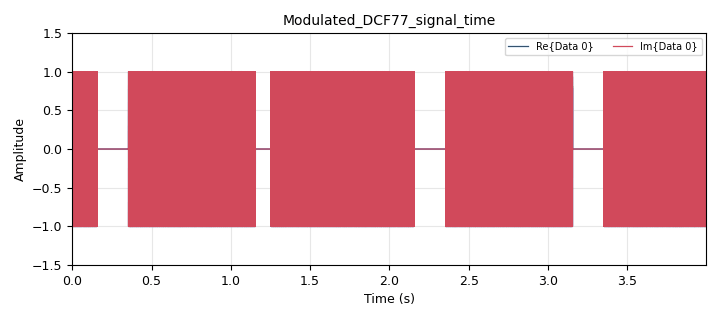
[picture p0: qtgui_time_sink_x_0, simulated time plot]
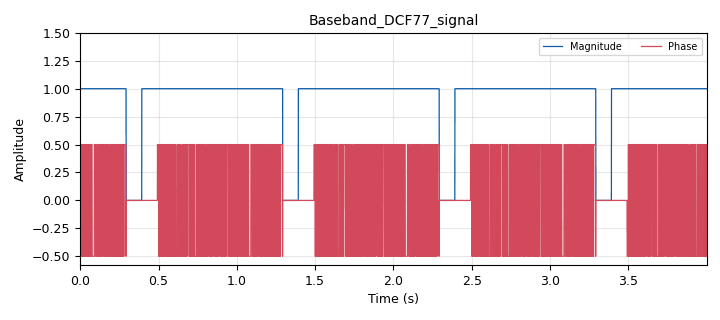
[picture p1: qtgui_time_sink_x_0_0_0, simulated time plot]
options:
  parameters:
    author: henningM1R
    generate_options: qt_gui
    id: DCF77_Transmitter
    output_language: python
    title: DCF77 Transmitter
  states: {}

blocks:
- name: chip_size
  id: variable
  parameters:
    value: '25'
  states: {}
- name: decimation
  id: variable
  parameters:
    value: '12'
  states: {}
- name: freq_DCF77
  id: variable
  parameters:
    value: '77500'
  states: {}
- name: minute_tag
  id: variable_tag_object
  parameters:
    key: pmt.intern("key")
    offset: '60'
    src: pmt.intern("src")
    value: pmt.intern("min")
  states: {}
- name: samp_rate
  id: variable
  parameters:
    value: int(192000)
  states: {}
- name: DCF77_code
  id: epy_module
  parameters:
    source_code: |
      # this module will be imported in the into your flowgraph

      sequence_0 = [-1,-1,-1,-1,-1,+1,-1,-1,-1,+1,+1,-1,-1,-1,-1,+1,-1,-1,+1,+1,+1,-1,-1,+1,-1,+1,-1,+1,-1,+1,+1,-1,-1,-1,-1,+1,+1,-1, \
                    +1,+1,+1,+1,-1,+1,-1,-1,+1,+1,-1,+1,+1,+1,-1,-1,+1,-1,-1,-1,+1,-1,+1,-1,-1,-1,-1,+1,-1,+1,-1,+1,+1,-1,+1,-1,-1,+1, \
                    +1,+1,+1,+1,+1,-1,+1,+1,-1,-1,+1,-1,-1,+1,-1,-1,+1,-1,+1,+1,-1,+1,+1,+1,+1,+1,+1,-1,-1,+1,-1,-1,+1,+1,-1,+1,-1,+1, \
                    -1,-1,+1,+1,-1,-1,+1,+1,-1,-1,-1,-1,-1,-1,-1,+1,+1,-1,-1,-1,+1,+1,-1,-1,+1,-1,+1,-1,-1,-1,+1,+1,-1,+1,-1,-1,+1,-1, \
                    +1,+1,+1,+1,+1,+1,+1,-1,+1,-1,-1,-1,+1,-1,+1,+1,-1,-1,-1,+1,+1,+1,-1,+1,-1,+1,+1,-1,-1,+1,-1,+1,+1,-1,-1,+1,+1,+1, \
                    +1,-1,-1,-1,+1,+1,+1,+1,+1,-1,+1,+1,+1,-1,+1,-1,-1,-1,-1,-1,+1,+1,-1,+1,-1,+1,+1,-1,+1,+1,-1,+1,+1,+1,-1,+1,+1,-1, \
                    -1,-1,-1,-1,+1,-1,+1,+1,-1,+1,-1,+1,+1,+1,+1,+1,-1,+1,-1,+1,-1,+1,-1,+1,-1,-1,-1,-1,-1,-1,+1,-1,+1,-1,-1,+1,-1,+1, \
                    -1,+1,+1,+1,+1,-1,-1,+1,-1,+1,+1,+1,-1,+1,+1,+1,-1,-1,-1,-1,-1,-1,+1,+1,+1,-1,-1,+1,+1,+1,-1,+1,-1,-1,+1,-1,-1,+1, \
                    +1,+1,+1,-1,+1,-1,+1,+1,+1,-1,+1,-1,+1,-1,-1,-1,+1,-1,-1,+1,-1,-1,-1,-1,+1,+1,-1,-1,+1,+1,+1,-1,-1,-1,-1,+1,-1,+1, \
                    +1,+1,+1,-1,+1,+1,-1,+1,+1,-1,-1,+1,+1,-1,+1,-1,-1,-1,-1,+1,+1,+1,-1,+1,+1,+1,+1,-1,-1,-1,-1,+1,+1,+1,+1,+1,+1,+1, \
                    +1,+1,-1,-1,-1,-1,-1,+1,+1,+1,+1,-1,+1,+1,+1,+1,+1,-1,-1,-1,+1,-1,+1,+1,+1,-1,-1,+1,+1,-1,-1,+1,-1,-1,-1,-1,-1,+1, \
                    -1,-1,+1,-1,+1,-1,-1,+1,+1,+1,-1,+1,+1,-1,+1,-1,-1,-1,+1,+1,+1,+1,-1,-1,+1,+1,+1,+1,+1,-1,-1,+1,+1,-1,+1,+1,-1,-1, \
                    -1,+1,-1,+1,-1,+1,-1,-1,+1,-1,-1,-1,+1,+1,+1,-1,-1,-1,+1,+1,-1,+1,+1,-1,+1,-1,+1,-1,+1,+1,+1,-1,-1,-1,+1,-1,-1,+1, \
                    +1,-1,-1,-1,+1,-1,-1,-1,+1,-1,-1,-1,-1,-1,-1,-1,-1,+1]

      sequence_1 = [+1,+1,+1,+1,+1,-1,+1,+1,+1,-1,-1,+1,+1,+1,+1,-1,+1,+1,-1,-1,-1,+1,+1,-1,+1,-1,+1,-1,+1,-1,-1,+1,+1,+1,+1,-1,-1,+1, \
                    -1,-1,-1,-1,+1,-1,+1,+1,-1,-1,+1,-1,-1,-1,+1,+1,-1,+1,+1,+1,-1,+1,-1,+1,+1,+1,+1,-1,+1,-1,+1,-1,-1,+1,-1,+1,+1,-1, \
                    -1,-1,-1,-1,-1,+1,-1,-1,+1,+1,-1,+1,+1,-1,+1,+1,-1,+1,-1,-1,+1,-1,-1,-1,-1,-1,-1,+1,+1,-1,+1,+1,-1,-1,+1,-1,+1,-1, \
                    +1,+1,-1,-1,+1,+1,-1,-1,+1,+1,+1,+1,+1,+1,+1,-1,-1,+1,+1,+1,-1,-1,+1,+1,-1,+1,-1,+1,+1,+1,-1,-1,+1,-1,+1,+1,-1,+1, \
                    -1,-1,-1,-1,-1,-1,-1,+1,-1,+1,+1,+1,-1,+1,-1,-1,+1,+1,+1,-1,-1,-1,+1,-1,+1,-1,-1,+1,+1,-1,+1,-1,-1,+1,+1,-1,-1,-1, \
                    -1,+1,+1,+1,-1,-1,-1,-1,-1,+1,-1,-1,-1,+1,-1,+1,+1,+1,+1,+1,-1,-1,+1,-1,+1,-1,-1,+1,-1,-1,+1,-1,-1,-1,+1,-1,-1,+1, \
                    +1,+1,+1,+1,-1,+1,-1,-1,+1,-1,+1,-1,-1,-1,-1,-1,+1,-1,+1,-1,+1,-1,+1,-1,+1,+1,+1,+1,+1,+1,-1,+1,-1,+1,+1,-1,+1,-1, \
                    +1,-1,-1,-1,-1,+1,+1,-1,+1,-1,-1,-1,+1,-1,-1,-1,+1,+1,+1,+1,+1,+1,-1,-1,-1,+1,+1,-1,-1,-1,+1,-1,+1,+1,-1,+1,+1,-1, \
                    -1,-1,-1,+1,-1,+1,-1,-1,-1,+1,-1,+1,-1,+1,+1,+1,-1,+1,+1,-1,+1,+1,+1,+1,-1,-1,+1,+1,-1,-1,-1,+1,+1,+1,+1,-1,+1,-1, \
                    -1,-1,-1,+1,-1,-1,+1,-1,-1,+1,+1,-1,-1,+1,-1,+1,+1,+1,+1,-1,-1,-1,+1,-1,-1,-1,-1,+1,+1,+1,+1,-1,-1,-1,-1,-1,-1,-1, \
                    -1,-1,+1,+1,+1,+1,+1,-1,-1,-1,-1,+1,-1,-1,-1,-1,-1,+1,+1,+1,-1,+1,-1,-1,-1,+1,+1,-1,-1,+1,+1,-1,+1,+1,+1,+1,+1,-1, \
                    +1,+1,-1,+1,-1,+1,+1,-1,-1,-1,+1,-1,-1,+1,-1,+1,+1,+1,-1,-1,-1,-1,+1,+1,-1,-1,-1,-1,-1,+1,+1,-1,-1,+1,-1,-1,+1,+1, \
                    +1,-1,+1,-1,+1,-1,+1,+1,-1,+1,+1,+1,-1,-1,-1,+1,+1,+1,-1,-1,+1,-1,-1,+1,-1,+1,-1,+1,-1,-1,-1,+1,+1,+1,-1,+1,+1,-1, \
                    -1,+1,+1,+1,-1,+1,+1,+1,-1,+1,+1,+1,+1,+1,+1,+1,+1,-1]
  states: {}
- name: analog_sig_source_x_2
  id: analog_sig_source_x
  parameters:
    amp: '1'
    comment: |-
      modulation signal to shift the
      pass band signal to 77.5 kHz
    freq: freq_DCF77
    offset: '0'
    phase: '0'
    samp_rate: samp_rate
    type: complex
    waveform: analog.GR_COS_WAVE
  states: {}
- name: blocks_add_xx_1
  id: blocks_add_xx
  parameters:
    type: complex
  states: {}
- name: blocks_magphase_to_complex_0
  id: blocks_magphase_to_complex
  parameters: {}
  states: {}
- name: blocks_multiply_const_vxx_0
  id: blocks_multiply_const_vxx
  parameters:
    const: '0.5'
    type: float
  states: {}
- name: blocks_multiply_const_vxx_1
  id: blocks_multiply_const_vxx
  parameters:
    comment: |-
      bit-flipped waveform
      for 1
      (phase modulation)
    const: '-1'
    type: short
  states: {}
- name: blocks_multiply_xx_0
  id: blocks_multiply_xx
  parameters:
    type: complex
  states: {}
- name: blocks_null_sink_0
  id: blocks_null_sink
  parameters:
    type: short
  states: {}
- name: blocks_null_sink_0_0
  id: blocks_null_sink
  parameters:
    type: short
  states: {}
- name: blocks_repeat_0
  id: blocks_repeat
  parameters:
    interp: chip_size
    type: short
  states: {}
- name: blocks_repeat_0_0
  id: blocks_repeat
  parameters:
    comment: |-
      each bit stretches a number
      of "samp_rate" samples,
      i.e. fill one full second
    interp: decimation
    type: complex
  states: {}
- name: blocks_repeat_0_1
  id: blocks_repeat
  parameters:
    interp: chip_size
    type: short
  states: {}
- name: blocks_repeat_0_1_0
  id: blocks_repeat
  parameters:
    interp: chip_size
    type: short
  states: {}
- name: blocks_repeat_1
  id: blocks_repeat
  parameters:
    comment: |-
      repeat time bits
      over full frame
      of second
    interp: int(samp_rate/decimation)
    type: short
  states: {}
- name: blocks_repeat_1_0
  id: blocks_repeat
  parameters:
    comment: |-
      repeat time bits
      over full frame
      of second
    interp: int(samp_rate/decimation)
    type: short
  states: {}
- name: blocks_short_to_float_0
  id: blocks_short_to_float
  parameters:
    scale: '1'
  states: {}
- name: blocks_short_to_float_0_0
  id: blocks_short_to_float
  parameters:
    scale: '1'
  states: {}
- name: blocks_tags_strobe_0_0_1_0
  id: blocks_tags_strobe
  parameters:
    comment: set a tag each second
    key: pmt.intern("S")
    nsamps: samp_rate
    type: complex
    value: pmt.intern("sec")
  states: {}
- name: blocks_vector_source_x_0_0_0
  id: blocks_vector_source_x
  parameters:
    comment: |-
      example DCF77 encoded
      bit-stream (for phase modulation)
      full length: must be 60 elements,
      the last element must be a 2
    repeat: 'True'
    type: short
    vector: '[1,1,1,1,1,1,1,1,1,1,0,0,0,0,0,0,0,0,1,0,1,1,0,1,0,1,0,1,0,1,1,1,0,1,0,0,1,0,0,0,1,0,0,1,1,1,1,0,0,0,1,1,0,0,0,1,0,0,1,0,2]'
  states: {}
- name: blocks_vector_source_x_0_0_0_0
  id: blocks_vector_source_x
  parameters:
    comment: |-
      waveform for 0
      (phase modulation)
    repeat: 'True'
    type: short
    vector: list(int(0.2*samp_rate/(decimation*chip_size))*[0]) + list(DCF77_code.sequence_0)
  states: {}
- name: blocks_vector_source_x_0_0_0_0_0
  id: blocks_vector_source_x
  parameters:
    comment: |-
      waveform for 2 (new minute)
      (phase modulation)
    repeat: 'True'
    type: short
    vector: list(int(0.2*samp_rate/(decimation*chip_size))*[-1]) + list(DCF77_code.sequence_0)
  states: {}
- name: blocks_vector_source_x_0_0_0_0_0_0
  id: blocks_vector_source_x
  parameters:
    comment: |-
      waveform for 2 (new minute)
      (amplitude modulation)
    repeat: 'True'
    type: short
    vector: list(int(samp_rate/decimation)*[1])
  states: {}
- name: blocks_vector_source_x_0_0_0_0_1_0
  id: blocks_vector_source_x
  parameters:
    comment: |-
      waveform for 1
      (amplitude modulation)
    repeat: 'True'
    type: short
    vector: list(int(0.2*samp_rate/decimation)*[0]) + list((int(0.8*samp_rate/decimation))*[1])
  states: {}
- name: blocks_vector_source_x_0_0_0_0_2
  id: blocks_vector_source_x
  parameters:
    comment: |-
      waveform for 0
      (amplitude modulation)
    repeat: 'True'
    type: short
    vector: list(int(0.1*samp_rate/decimation)*[0]) + list((int(0.9*samp_rate/decimation))*[1])
  states: {}
- name: blocks_vector_source_x_0_0_0_1
  id: blocks_vector_source_x
  parameters:
    comment: |-
      example DCF77 encoded
      bit-stream (for OOK)
      (with random weather
      data bits)
      full length: must be
      60 elements, the last
      element must be a 2
    repeat: 'True'
    tags: '[minute_tag]'
    type: short
    vector: (0,0,1,1,1,0,0,0,0,0,0,0,0,1,1,0,0,0,1,0,1,1,0,1,0,1,0,1,0,1,1,1,0,1,0,0,1,0,0,0,1,0,0,1,1,1,1,0,0,0,1,1,0,0,0,1,0,0,1,2)
  states: {}
- name: epy_block_0_0
  id: epy_block
  parameters:
    _source_code: "\nimport numpy as np\nfrom gnuradio import gr\n\n\nclass blk(gr.sync_block):\n\n    def __init__(self):\n        gr.sync_block.__init__(\n            self,\n            name='Synchronous\\nWaveform Selector',\n            in_sig=[np.short,     # selector\n                    np.short,     # input signal for symbol zero\n                    np.short,     # input signal for symbol one\n                    np.short],    # input signal for symbol two\n            out_sig=[np.short,    # output signal\n                     np.short]    # forward selector\n        )\n\n    def work(self, input_items, output_items):\n        inp0 = input_items[0]   # selector value\n        inp1 = input_items[1]   # input signal for symbol zero\n        inp2 = input_items[2]   # input signal for symbol one\n        inp3 = input_items[3]   # input signal for symbol two\n\n        # only as initialization value for output signal\n        output_items[0][:] = inp3\n\n        # forward the selector value\n        output_items[1][:] = inp0\n\n        # synchronously select the input signal to forward it to the output\n        output_items[0][:] = self.selsym_to_bbsig(inp0, inp1, inp2, inp3)\n\n        return len(output_items[0])\n\n    # selected symbol to baseband signal\n    def selsym_to_bbsig(self, inp0, inp1, inp2, inp3):\n        out = inp0\n\n        for idx, ch in enumerate(inp0):\n            # forward waveform for symbol zero\n            if (ch == 0):\n                out[idx] = inp1[idx]\n\n            # forward waveform for symbol one\n            elif (ch == 1):\n                out[idx] = inp2[idx]\n\n            # forward waveform for symbol two\n            elif (ch == 2):\n                out[idx] = inp3[idx]\n\n        return out\n"
    alias: Synchronous_Waveform_Selector_2
    comment: |-
      selects the phase-
      waveform to the
      corresponding
      symbol 0, 1 or 2
  states: {}
- name: epy_block_0_0_0
  id: epy_block
  parameters:
    _source_code: "\nimport numpy as np\nfrom gnuradio import gr\n\n\nclass blk(gr.sync_block):\n\n    def __init__(self):\n        gr.sync_block.__init__(\n            self,\n            name='Synchronous\\nWaveform Selector',\n            in_sig=[np.short,     # selector\n                    np.short,     # input signal for symbol zero\n                    np.short,     # input signal for symbol one\n                    np.short],    # input signal for symbol two\n            out_sig=[np.short,    # output signal\n                     np.short]    # forward selector\n        )\n\n    def work(self, input_items, output_items):\n        inp0 = input_items[0]   # selector value\n        inp1 = input_items[1]   # input signal for symbol zero\n        inp2 = input_items[2]   # input signal for symbol one\n        inp3 = input_items[3]   # input signal for symbol two\n\n        # only as initialization value for output signal\n        output_items[0][:] = inp3\n\n        # forward the selector value\n        output_items[1][:] = inp0\n\n        # synchronously select the input signal to forward it to the output\n        output_items[0][:] = self.selsym_to_bbsig(inp0, inp1, inp2, inp3)\n\n        return len(output_items[0])\n\n    # selected symbol to baseband signal\n    def selsym_to_bbsig(self, inp0, inp1, inp2, inp3):\n        out = inp0\n\n        for idx, ch in enumerate(inp0):\n            # forward waveform for symbol zero\n            if (ch == 0):\n                out[idx] = inp1[idx]\n\n            # forward waveform for symbol one\n            elif (ch == 1):\n                out[idx] = inp2[idx]\n\n            # forward waveform for symbol two\n            elif (ch == 2):\n                out[idx] = inp3[idx]\n\n        return out\n"
    alias: Synchronous_Waveform_Selector_1
    comment: |-
      selects the OOK-
      waveform to the
      corresponding
      symbol 0, 1 or 2
  states: {}
- name: import_0
  id: import
  parameters:
    comment: |-
      Windows needs the
      import of zmq
    imports: import zmq
  states: {}
- name: import_2
  id: import
  parameters:
    imports: import math
  states: {}
- name: network_tcp_sink_0
  id: network_tcp_sink
  parameters:
    mode: '2'
    port: '55553'
    type: complex
  states: {}
- name: note_0
  id: note
  parameters:
    comment: |-
      DCF77 OOK
      amplitude
      modulation
  states: {}
- name: note_0_0
  id: note
  parameters:
    comment: |-
      DCF77 
      phase
      modulation
  states: {}
- name: qtgui_freq_sink_x_0
  id: qtgui_freq_sink_x
  parameters:
    bw: samp_rate
    fc: '0'
    fftsize: '1024'
    gui_hint: (4,0)
    name: Modulated_DCF77_signal_frequency
    type: complex
  states: {state: disabled}
- name: qtgui_time_sink_x_0
  id: qtgui_time_sink_x
  parameters:
    gui_hint: (3,0)
    name: Modulated_DCF77_signal_time
    size: samp_rate*4
    srate: samp_rate
    type: complex
    ymax: '1.5'
    ymin: '-1.5'
  states: {}
- name: qtgui_time_sink_x_0_0_0
  id: qtgui_time_sink_x
  parameters:
    gui_hint: (2,0)
    label1: Magnitude
    label2: Phase
    name: Baseband_DCF77_signal
    nconnections: '2'
    size: int(4*samp_rate/decimation)
    srate: int(samp_rate/decimation)
    type: float
    ymax: '1.5'
    ymin: '-0.5'
  states: {}
- name: virtual_sink_0
  id: virtual_sink
  parameters:
    stream_id: '0'
  states: {}
- name: virtual_source_0
  id: virtual_source
  parameters:
    stream_id: '0'
  states: {}
- name: zeromq_sub_source_0
  id: zeromq_sub_source
  parameters:
    address: tcp://127.0.0.1:55552
    comment: |-
      sends bits from DCF77 Encoder
      1 symbol per second

      (not implemented for
      phase-modulation yet)
    timeout: '100'
    type: short
  states: {state: disabled}

connections:
- [analog_sig_source_x_2, '0', blocks_multiply_xx_0, '0']
- [blocks_add_xx_1, '0', qtgui_time_sink_x_0, '0']
- [blocks_magphase_to_complex_0, '0', virtual_sink_0, '0']
- [blocks_multiply_const_vxx_0, '0', blocks_magphase_to_complex_0, '1']
- [blocks_multiply_const_vxx_0, '0', qtgui_time_sink_x_0_0_0, '1']
- [blocks_multiply_const_vxx_1, '0', blocks_repeat_0_1, '0']
- [blocks_multiply_xx_0, '0', blocks_add_xx_1, '1']
- [blocks_multiply_xx_0, '0', network_tcp_sink_0, '0']
- [blocks_multiply_xx_0, '0', qtgui_freq_sink_x_0, '0']
- [blocks_repeat_0, '0', epy_block_0_0, '1']
- [blocks_repeat_0_0, '0', blocks_multiply_xx_0, '1']
- [blocks_repeat_0_1, '0', epy_block_0_0, '2']
- [blocks_repeat_0_1_0, '0', epy_block_0_0, '3']
- [blocks_repeat_1, '0', epy_block_0_0, '0']
- [blocks_repeat_1_0, '0', epy_block_0_0_0, '0']
- [blocks_short_to_float_0, '0', blocks_multiply_const_vxx_0, '0']
- [blocks_short_to_float_0_0, '0', blocks_magphase_to_complex_0, '0']
- [blocks_short_to_float_0_0, '0', qtgui_time_sink_x_0_0_0, '0']
- [blocks_tags_strobe_0_0_1_0, '0', blocks_add_xx_1, '0']
- [blocks_vector_source_x_0_0_0, '0', blocks_repeat_1, '0']
- [blocks_vector_source_x_0_0_0_0, '0', blocks_multiply_const_vxx_1, '0']
- [blocks_vector_source_x_0_0_0_0, '0', blocks_repeat_0, '0']
- [blocks_vector_source_x_0_0_0_0_0, '0', blocks_repeat_0_1_0, '0']
- [blocks_vector_source_x_0_0_0_0_0_0, '0', epy_block_0_0_0, '3']
- [blocks_vector_source_x_0_0_0_0_1_0, '0', epy_block_0_0_0, '2']
- [blocks_vector_source_x_0_0_0_0_2, '0', epy_block_0_0_0, '1']
- [blocks_vector_source_x_0_0_0_1, '0', blocks_repeat_1_0, '0']
- [epy_block_0_0, '0', blocks_short_to_float_0, '0']
- [epy_block_0_0, '1', blocks_null_sink_0, '0']
- [epy_block_0_0_0, '0', blocks_short_to_float_0_0, '0']
- [epy_block_0_0_0, '1', blocks_null_sink_0_0, '0']
- [virtual_source_0, '0', blocks_repeat_0_0, '0']
- [zeromq_sub_source_0, '0', blocks_repeat_1_0, '0']

metadata:
  file_format: 1
